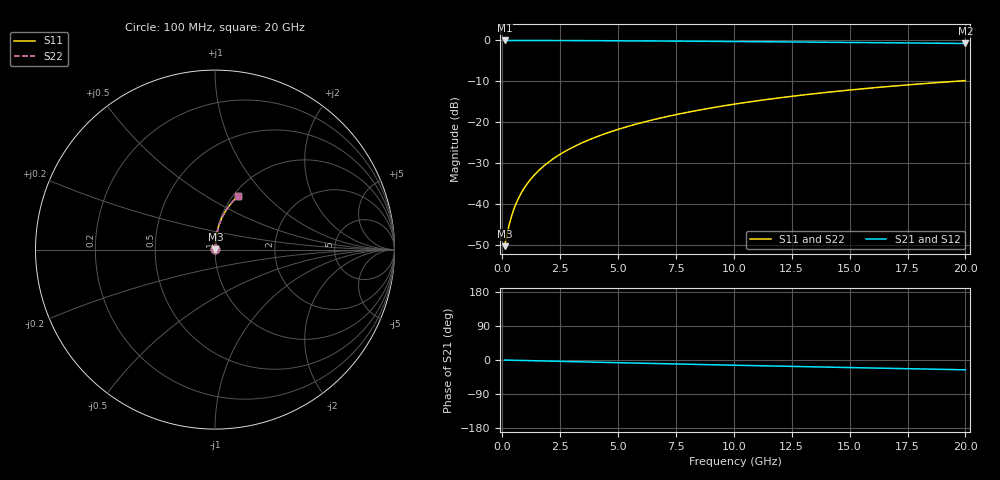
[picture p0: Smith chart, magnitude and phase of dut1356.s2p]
! Touchstone file exported from HFSS 2024.1.0
!  File:  C:/UserFiles/LocalFiles/RDL_TSV_Batchsim/temp_RDL_bottom_1356_1780370519.aedt
!  Generated:  11:24:50 AM Jun  2, 2026
!  Design:  RDL_bottom
!  Project:  temp_RDL_bottom_1356_1780370519
!  Setup:  Setup1
!  Solution:  Sweep
! Variables:
!  dtsv = 10.80580581um
!  hbump = 3um
!  htsv = 58.77um
!  ldown = 280.57um
!  lrdl = 100um
!  p = 40
!  p1 = 56.2um
!  rhole = 1um
!  t = 450um
!  tdown = 2.69um
!  trdl = 3.915915916um
!  wdown = 15.57um
!  wrdl = 20um
# GHz S MA R 50.000000
! Terminal data exported
! Port[1] = RDL1_T1
! Port[2] = RDL1_T2
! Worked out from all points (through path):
!   200 points, 100 MHz to 20 GHz, reference 50 ohm
!   highest |S21| = -0.02 dB at 100 MHz (marker M1); lowest = -0.8 dB at 20 GHz (marker M2)
!   group delay of S21, straight-line fit = 3.58 ps
!   lowest |S11| = -50.2 dB at 100 MHz (marker M3), VSWR 1.01, Z = 50.3 + j0.171 ohm
!   |S11| at or under -10 dB: start of sweep to 19.51 GHz
!   |S22| runs from -50.2 to -9.8 dB; largest |S21 - S12| = 3e-15
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0.1  0.003103 33.1  0.9974 -0.2  0.9974 -0.2  0.003103 33.1
! Gamma 0 0 0 0
! Port Impedance 50 0 50 0
0.2  0.004287 51.9  0.9974 -0.3  0.9974 -0.3  0.004287 51.9
0.3  0.005707 61.7  0.9973 -0.4  0.9973 -0.4  0.005708 61.7
0.4  0.007212 67.5  0.9972 -0.6  0.9972 -0.6  0.007213 67.5
0.5  0.008755 71.2  0.9971 -0.7  0.9971 -0.7  0.008756 71.2
0.6  0.01032 73.8  0.997 -0.9  0.997 -0.9  0.01032 73.8
0.8  0.01349 77.2  0.9968 -1.2  0.9968 -1.2  0.01349 77.2
1.1  0.01828 80.0  0.9965 -1.6  0.9965 -1.6  0.01828 80.0
1.5  0.02472 82.0  0.9961 -2.2  0.9961 -2.2  0.02472 82.0
1.8  0.02957 82.8  0.9957 -2.6  0.9957 -2.6  0.02957 82.8
2.1  0.03443 83.3  0.9952 -3.0  0.9952 -3.0  0.03443 83.3
2.7  0.04419 83.9  0.9941 -3.9  0.9941 -3.9  0.04419 83.9
3.5  0.05732 84.1  0.9924 -5.0  0.9924 -5.0  0.05732 84.1
4.2  0.0689 83.9  0.9905 -6.0  0.9905 -6.0  0.0689 83.9
5  0.08226 83.6  0.9881 -7.1  0.9881 -7.1  0.08226 83.6
5.9  0.09739 82.9  0.9851 -8.4  0.9851 -8.4  0.09739 82.9
6.8  0.1126 82.2  0.9818 -9.6  0.9818 -9.6  0.1126 82.2
8.3  0.138 80.7  0.9758 -11.6  0.9758 -11.6  0.138 80.7
10.1  0.1683 78.7  0.968 -13.9  0.968 -13.9  0.1683 78.7
13.4  0.2227 74.7  0.9521 -18.0  0.9521 -18.0  0.2226 74.7
16.7  0.2745 70.7  0.9347 -22.0  0.9347 -22.0  0.2745 70.7
20  0.3232 66.7  0.916 -25.8  0.916 -25.8  0.3232 66.7
